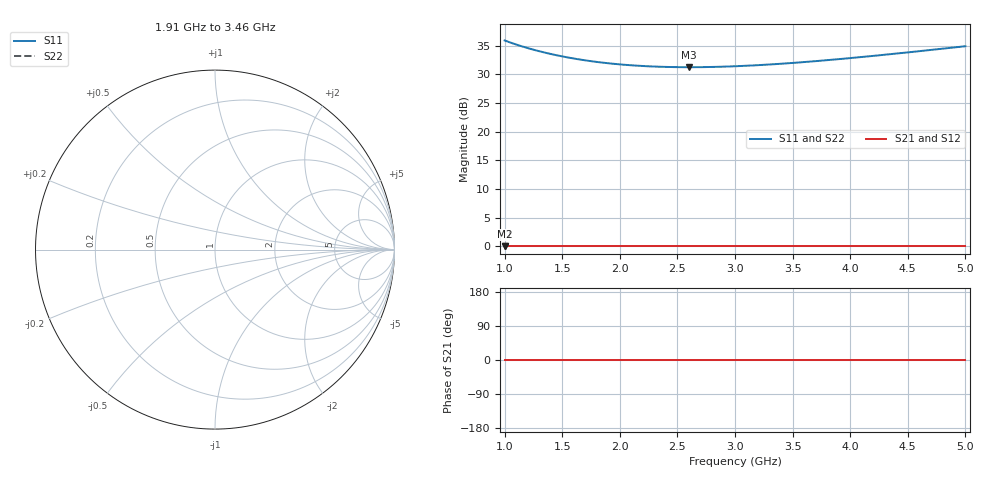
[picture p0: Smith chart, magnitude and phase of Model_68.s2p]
# GHZ S RI R 50
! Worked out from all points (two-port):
!   401 points, 1 GHz to 5 GHz, reference 50 ohm
!   highest |S21| = 0.00 dB at 1 GHz (marker M1); lowest = 0.0 dB at 1 GHz (marker M2)
!   |S21| within 3 dB of the highest: start of sweep to end of sweep
!   lowest |S11| = 31.3 dB at 2.6 GHz (marker M3)
!   |S11| at or under -10 dB: nowhere
!   |S22| runs from 31.3 to 35.9 dB; largest |S21 - S12| = 0
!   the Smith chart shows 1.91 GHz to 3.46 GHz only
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1  62.61 0  1 0  1 0  62.61 0
1.02  61.54 0  1 0  1 0  61.54 0
1.15  55.62 0  1 0  1 0  55.62 0
1.22  53.01 0  1 0  1 0  53.01 0
1.3  50.43 0  1 0  1 0  50.43 0
1.38  48.21 0  1 0  1 0  48.21 0
1.47  46.07 0  1 0  1 0  46.07 0
1.57  44.07 0  1 0  1 0  44.07 0
1.67  42.4 0  1 0  1 0  42.4 0
1.82  40.42 0  1 0  1 0  40.42 0
1.98  38.85 0  1 0  1 0  38.85 0
2.15  37.7 0  1 0  1 0  37.7 0
2.34  36.91 0  1 0  1 0  36.91 0
2.6  36.55 0  1 0  1 0  36.55 0
2.8  36.73 0  1 0  1 0  36.73 0
3  37.26 0  1 0  1 0  37.26 0
3.33  38.77 0  1 0  1 0  38.77 0
3.67  41.06 0  1 0  1 0  41.06 0
4  43.91 0  1 0  1 0  43.91 0
4.34  47.42 0  1 0  1 0  47.42 0
4.64  50.96 0  1 0  1 0  50.96 0
5  55.75 0  1 0  1 0  55.75 0
